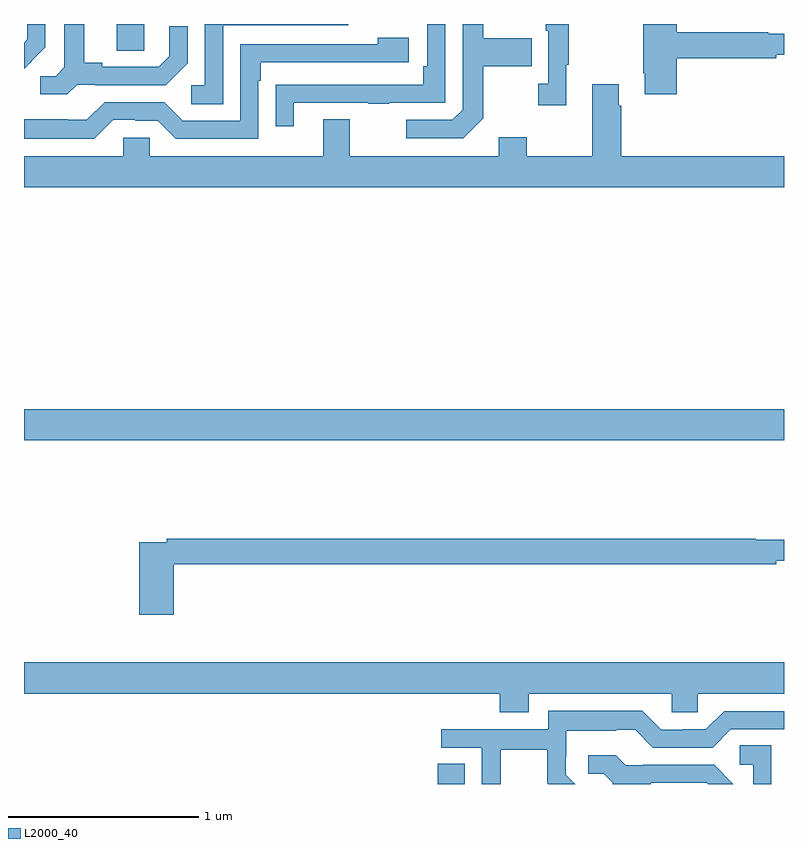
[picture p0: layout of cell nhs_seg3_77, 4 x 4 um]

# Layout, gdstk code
import gdstk
lib = gdstk.Library(unit=1e-6, precision=1e-09)
def R(c, l, rs):  # rectangles x0, y0, x1, y1
    for r in rs: c.add(gdstk.rectangle(r[:2], r[2:], *l))
def P(c, l, *ps):  # polygons
    for p in ps: c.add(gdstk.Polygon(p, *l))
L2000_40 = (2000, 40)

nhs_seg3_77 = lib.new_cell('nhs_seg3_77')
R(nhs_seg3_77, L2000_40, [(115.178,740.4,115.321,740.507), (113,742.208,117,742.372), (113.489,744.259,113.634,744.4)])
P(nhs_seg3_77, L2000_40, [(114.048,744.393),(114.707,744.393),(114.707,744.4),(113.952,744.4),(113.952,744.078),(113.88,744.078),(113.88,743.977),(114.048,743.977)],
  [(115.417,743.905),(115.417,744.178),(115.673,744.178),(115.673,744.325),(115.417,744.325),(115.417,744.4),(115.308,744.4),(115.308,743.949),(115.254,743.895),(115.011,743.895),(115.011,743.799),(115.311,743.799)],
  [(113.28,744.081),(113.374,744.081),(113.374,744.078),(113.746,744.078),(113.862,744.194),(113.862,744.388),(113.765,744.388),(113.765,744.231),(113.708,744.174),(113.413,744.174),(113.413,744.197),(113.317,744.197),(113.317,744.4),(113.213,744.4),(113.213,744.173),(113.166,744.126),(113.085,744.126),(113.085,744.029),(113.228,744.029)],
  [(116.435,744.22),(116.96,744.22),(116.96,744.239),(117,744.239),(117,744.349),(116.918,744.349),(116.918,744.356),(116.435,744.356),(116.435,744.4),(116.26,744.4),(116.26,744.142),(116.267,744.142),(116.267,744.03),(116.435,744.03)],
  [(115.855,744.185),(115.867,744.185),(115.867,744.4),(115.746,744.4),(115.746,744.365),(115.758,744.365),(115.758,744.086),(115.707,744.086),(115.707,743.973),(115.855,743.973)],
  [(113.04,744.204),(113.039,744.205),(113.112,744.278),(113.112,744.4),(113.018,744.4),(113.018,744.32),(113,744.302),(113,744.164)],
  [(114.421,743.985),(114.811,743.985),(114.811,743.98),(114.923,743.98),(114.923,743.985),(115.218,743.985),(115.218,744.4),(115.122,744.4),(115.122,744.178),(115.102,744.178),(115.102,744.081),(114.427,744.081),(114.427,744.08),(114.325,744.08),(114.325,743.862),(114.421,743.862)],
  [(113.469,743.895),(113.585,743.895),(113.585,743.892),(113.703,743.892),(113.799,743.796),(114.234,743.796),(114.234,744.101),(114.247,744.101),(114.247,744.198),(115.024,744.198),(115.024,744.328),(114.863,744.328),(114.863,744.294),(114.138,744.294),(114.138,743.892),(113.835,743.892),(113.739,743.988),(113.424,743.988),(113.331,743.895),(113.231,743.895),(113.231,743.899),(113,743.899),(113,743.795),(113.369,743.795)],
  [(117,743.704),(116.144,743.704),(116.144,743.969),(116.131,743.969),(116.131,744.082),(115.991,744.082),(115.991,743.704),(115.647,743.704),(115.647,743.803),(115.499,743.803),(115.499,743.704),(114.715,743.704),(114.715,743.899),(114.575,743.899),(114.575,743.704),(113.661,743.704),(113.661,743.802),(113.523,743.802),(113.523,743.704),(113,743.704),(113,743.54),(117,743.54)],
  [(113.789,741.556),(116.96,741.556),(116.96,741.575),(117,741.575),(117,741.685),(116.852,741.685),(116.852,741.692),(113.752,741.692),(113.752,741.672),(113.606,741.672),(113.606,741.291),(113.789,741.291)],
  [(115.657,740.876),(116.409,740.876),(116.409,740.778),(116.547,740.778),(116.547,740.876),(117,740.876),(117,741.04),(113,741.04),(113,740.876),(115.505,740.876),(115.505,740.777),(115.657,740.777)],
  [(115.509,740.58),(115.753,740.58),(115.753,740.405),(115.758,740.4),(115.902,740.4),(115.852,740.45),(115.852,740.547),(115.854,740.547),(115.854,740.681),(116.117,740.681),(116.117,740.685),(116.217,740.685),(116.31,740.592),(116.625,740.592),(116.721,740.688),(117,740.688),(117,740.784),(116.685,740.784),(116.589,740.688),(116.471,740.688),(116.471,740.685),(116.355,740.685),(116.255,740.785),(115.758,740.785),(115.758,740.688),(115.197,740.688),(115.197,740.592),(115.41,740.592),(115.41,740.4),(115.509,740.4)],
  [(116.934,740.603),(116.766,740.603),(116.766,740.502),(116.838,740.502),(116.838,740.4),(116.934,740.4)],
  [(116.299,740.406),(116.594,740.406),(116.6,740.4),(116.734,740.4),(116.632,740.502),(116.26,740.502),(116.26,740.499),(116.166,740.499),(116.114,740.551),(115.971,740.551),(115.971,740.454),(116.052,740.454),(116.099,740.407),(116.099,740.4),(116.299,740.4)])

lib.write_gds('nhs_seg3_77.gds')
